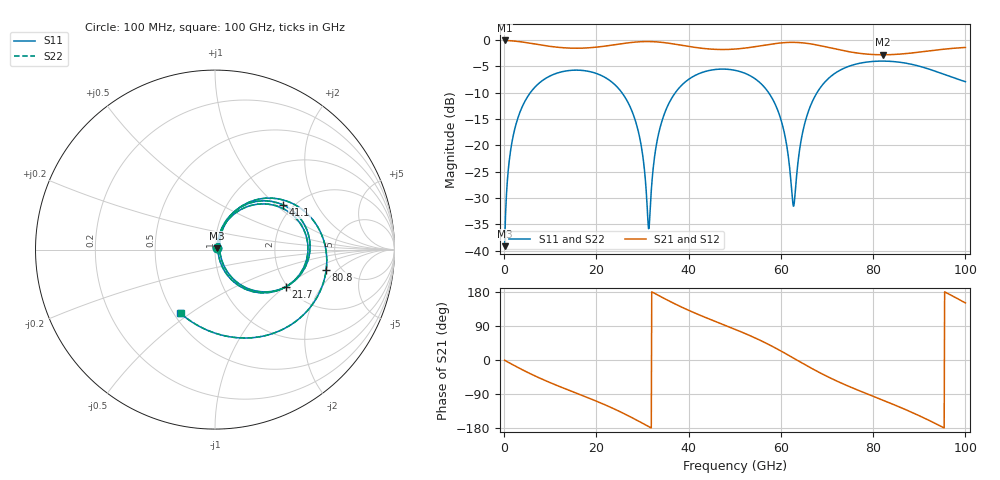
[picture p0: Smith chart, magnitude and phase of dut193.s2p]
! Touchstone file exported from HFSS 2026.1.0
!  File:  C:/ffzhzh/LocalFiles/Ansys_Project_Files/temp_train_TSV_RDL_193_1783656077_26216.aedt
!  Generated:  12:09:15 PM Jul 10, 2026
!  Design:  TSV_RDL
!  Project:  temp_train_TSV_RDL_193_1783656077_26216
! Variables:
!  h_bsmrdl = 4.11um
!  h_ox = 20um
!  h_rdl = 5um
!  h_sub = 89.4um
!  h_tmrdl = 3.68um
!  h_tsv = 89.4um
!  h_via = 3um
!  l_bsmrdl = 218.89um
!  l_sub = 1655.28um
!  l_tmrdl = 125.42um
!  m_sub = 200um
!  pitch = 52.63um
!  r_tsv = 9.76um
!  s_tmrdl = 10um
!  w_bsmrdl = 11.91um
!  w_sub = 500um
!  w_tmrdl = 20.4um
!  x_tsv_center1 = 135.62um
!  x_tsv_center2 = 366.42um
!  x_tsv_center3 = 512.24um
!  x_tsv_center4 = 743.04um
!  x_tsv_center5 = 888.86um
!  x_tsv_center6 = 1119.66um
# GHz S MA R 50.000000
! Terminal data exported
! Port[1] = TM_RDL1_1_T1
! Port[2] = TM_RDL5_1_T1
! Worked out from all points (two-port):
!   1000 points, 100 MHz to 100 GHz, reference 50 ohm
!   highest |S21| = -0.08 dB at 100 MHz (marker M1); lowest = -2.8 dB at 82.1 GHz (marker M2)
!   |S21| within 3 dB of the highest: start of sweep to end of sweep
!   lowest |S11| = -39.1 dB at 100 MHz (marker M3), VSWR 1.02, Z = 50.9 + j0.677 ohm
!   |S11| at or under -10 dB: start of sweep to 5.671 GHz; 25.54 GHz to 37.11 GHz (11.57 GHz wide, 36.9 % of centre); 57.35 GHz to 67.82 GHz (10.47 GHz wide, 16.7 % of centre)
!   |S22| runs from -39.1 to -4.0 dB; largest |S21 - S12| = 1e-12
!   S11 on the Smith chart (normalised r, x): 100 MHz: 1.02, +0.01; 21.7 GHz: 1.96, -1.01; 41.1 GHz: 1.78, +1.11; 80.8 GHz: 3.83, -1.44; 100 GHz: 0.54, -0.46
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0.1  0.01105 37.0  0.9912 -0.7  0.9912 -0.7  0.01105 37.0
! Gamma 0 0 0 0
! Port Impedance 50 0 50 0
1.5  0.09554 73.1  0.9841 -10.1  0.9841 -10.1  0.09554 73.1
4.2  0.2471 59.3  0.9543 -27.3  0.9543 -27.3  0.2471 59.3
16.8  0.5156 -4.1  0.8378 -92.9  0.8378 -92.9  0.5156 -4.2
21.7  0.4461 -27.7  0.8739 -117.4  0.8739 -117.4  0.4461 -27.7
28.3  0.1799 -62.4  0.9554 -155.9  0.9554 -155.9  0.1799 -62.3
29.9  0.08872 -67.3  0.9657 -166.2  0.9657 -166.2  0.08874 -67.1
31.3  0.01621 -6.8  0.9679 -175.4  0.9679 -175.4  0.01656 -6.5
33.4  0.1242 72.4  0.9583 170.8  0.9583 170.8  0.1243 72.2
41.1  0.4541 33.2  0.8554 125.2  0.8554 125.2  0.4542 33.1
50.1  0.5156 -9.4  0.8215 80.8  0.8215 80.8  0.5157 -9.5
58.8  0.2438 -53.7  0.9264 31.8  0.9264 31.8  0.2438 -54.0
60.9  0.1221 -61.2  0.9462 17.7  0.9462 17.7  0.122 -61.7
62.7  0.02648 -1.5  0.9511 5.3  0.9511 5.3  0.0256 -1.9
64.6  0.1256 69.1  0.9418 -8.0  0.9418 -8.0  0.1253 69.4
66.7  0.2541 61.3  0.9159 -22.3  0.9159 -22.3  0.2539 61.4
72.6  0.511 29.3  0.8085 -58.2  0.8085 -58.2  0.511 29.2
80.8  0.6298 -10.4  0.7264 -99.6  0.7264 -99.6  0.6298 -10.4
82.1  0.6314 -16.5  0.7249 -106.0  0.7249 -106.0  0.6314 -16.5
83.4  0.6291 -22.7  0.7262 -112.4  0.7262 -112.4  0.6292 -22.7
93.4  0.5071 -75.6  0.8012 -167.0  0.8012 -167.0  0.5072 -75.5
100  0.403 -118.8  0.8507 150.6  0.8507 150.6  0.4032 -118.4
